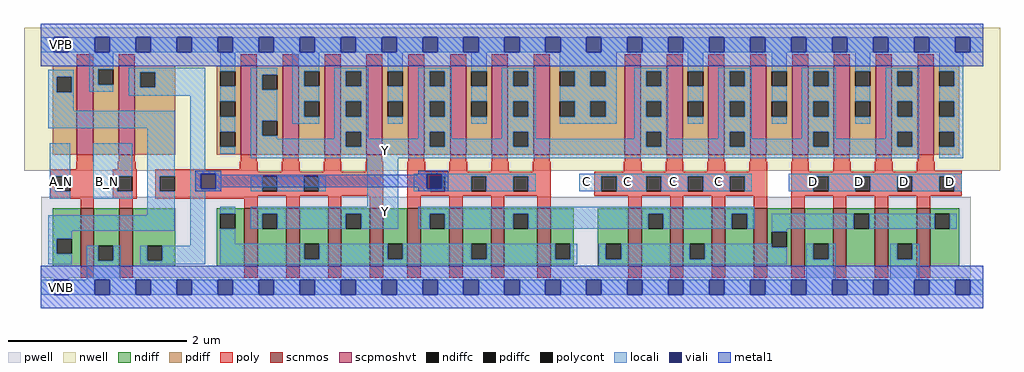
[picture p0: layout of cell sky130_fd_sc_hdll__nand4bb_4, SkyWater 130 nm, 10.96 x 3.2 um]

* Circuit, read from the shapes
.subckt sky130_fd_sc_hdll__nand4bb_4 A_N B_N C D VGND VNB VPB VPWR Y
XM1 VGND A_N n1 VNB sky130_fd_pr__nfet_01v8 w=0.65 l=0.15
XM2 n2 B_N VGND VNB sky130_fd_pr__nfet_01v8 w=0.65 l=0.15
XM3 Y n1 n3 VNB sky130_fd_pr__nfet_01v8 w=0.65 l=0.15 m=4
XM4 n4 n2 n3 VNB sky130_fd_pr__nfet_01v8 w=0.65 l=0.15 m=4
XM5 n4 C n5 VNB sky130_fd_pr__nfet_01v8 w=0.65 l=0.15 m=4
XM6 VGND D n5 VNB sky130_fd_pr__nfet_01v8 w=0.65 l=0.15 m=4
XM7 VPWR A_N n1 VPB sky130_fd_pr__pfet_01v8_hvt w=1 l=0.18
XM8 n2 B_N VPWR VPB sky130_fd_pr__pfet_01v8_hvt w=1 l=0.18
XM9 Y n1 VPWR VPB sky130_fd_pr__pfet_01v8_hvt w=1 l=0.18 m=4
XM10 Y n2 VPWR VPB sky130_fd_pr__pfet_01v8_hvt w=1 l=0.18 m=4
XM11 Y C VPWR VPB sky130_fd_pr__pfet_01v8_hvt w=1 l=0.18 m=4
XM12 Y D VPWR VPB sky130_fd_pr__pfet_01v8_hvt w=1 l=0.18 m=4
.ends

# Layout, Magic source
magic
tech sky130A
magscale 1 2
<< nwell >>
rect -38 261 2154 582
<< pwell >>
rect 1 21 2088 203
rect 29 -17 63 21
<< scnmos >>
rect 89 47 119 177
rect 176 47 206 177
rect 457 47 487 177
rect 551 47 581 177
rect 645 47 675 177
rect 739 47 769 177
rect 823 47 853 177
rect 917 47 947 177
rect 1011 47 1041 177
rect 1115 47 1145 177
rect 1319 47 1349 177
rect 1413 47 1443 177
rect 1507 47 1537 177
rect 1601 47 1631 177
rect 1685 47 1715 177
rect 1779 47 1809 177
rect 1873 47 1903 177
rect 1967 47 1997 177
<< scpmoshvt >>
rect 81 297 117 497
rect 175 297 211 497
rect 449 297 485 497
rect 543 297 579 497
rect 637 297 673 497
rect 731 297 767 497
rect 825 297 861 497
rect 919 297 955 497
rect 1013 297 1049 497
rect 1107 297 1143 497
rect 1311 297 1347 497
rect 1405 297 1441 497
rect 1499 297 1535 497
rect 1593 297 1629 497
rect 1687 297 1723 497
rect 1781 297 1817 497
rect 1875 297 1911 497
rect 1969 297 2005 497
<< ndiff >>
rect 27 109 89 177
rect 27 75 35 109
rect 69 75 89 109
rect 27 47 89 75
rect 119 93 176 177
rect 119 59 129 93
rect 163 59 176 93
rect 119 47 176 59
rect 206 93 302 177
rect 206 59 239 93
rect 273 59 302 93
rect 206 47 302 59
rect 395 165 457 177
rect 395 131 403 165
rect 437 131 457 165
rect 395 47 457 131
rect 487 165 551 177
rect 487 131 497 165
rect 531 131 551 165
rect 487 47 551 131
rect 581 97 645 177
rect 581 63 591 97
rect 625 63 645 97
rect 581 47 645 63
rect 675 165 739 177
rect 675 131 685 165
rect 719 131 739 165
rect 675 47 739 131
rect 769 97 823 177
rect 769 63 779 97
rect 813 63 823 97
rect 769 47 823 63
rect 853 165 917 177
rect 853 131 873 165
rect 907 131 917 165
rect 853 47 917 131
rect 947 97 1011 177
rect 947 63 967 97
rect 1001 63 1011 97
rect 947 47 1011 63
rect 1041 165 1115 177
rect 1041 131 1061 165
rect 1095 131 1115 165
rect 1041 47 1115 131
rect 1145 97 1197 177
rect 1145 63 1155 97
rect 1189 63 1197 97
rect 1145 47 1197 63
rect 1251 97 1319 177
rect 1251 63 1269 97
rect 1303 63 1319 97
rect 1251 47 1319 63
rect 1349 165 1413 177
rect 1349 131 1364 165
rect 1398 131 1413 165
rect 1349 47 1413 131
rect 1443 97 1507 177
rect 1443 63 1457 97
rect 1491 63 1507 97
rect 1443 47 1507 63
rect 1537 165 1601 177
rect 1537 131 1552 165
rect 1586 131 1601 165
rect 1537 47 1601 131
rect 1631 124 1685 177
rect 1631 90 1641 124
rect 1675 90 1685 124
rect 1631 47 1685 90
rect 1715 97 1779 177
rect 1715 63 1735 97
rect 1769 63 1779 97
rect 1715 47 1779 63
rect 1809 165 1873 177
rect 1809 131 1826 165
rect 1860 131 1873 165
rect 1809 47 1873 131
rect 1903 97 1967 177
rect 1903 63 1923 97
rect 1957 63 1967 97
rect 1903 47 1967 63
rect 1997 165 2062 177
rect 1997 131 2007 165
rect 2041 131 2062 165
rect 1997 47 2062 131
<< pdiff >>
rect 27 472 81 497
rect 27 438 35 472
rect 69 438 81 472
rect 27 297 81 438
rect 117 489 175 497
rect 117 455 129 489
rect 163 455 175 489
rect 117 297 175 455
rect 211 483 302 497
rect 211 449 223 483
rect 257 449 302 483
rect 211 297 302 449
rect 395 485 449 497
rect 395 451 403 485
rect 437 451 449 485
rect 395 417 449 451
rect 395 383 403 417
rect 437 383 449 417
rect 395 349 449 383
rect 395 315 403 349
rect 437 315 449 349
rect 395 297 449 315
rect 485 477 543 497
rect 485 443 497 477
rect 531 443 543 477
rect 485 374 543 443
rect 485 340 497 374
rect 531 340 543 374
rect 485 297 543 340
rect 579 485 637 497
rect 579 451 591 485
rect 625 451 637 485
rect 579 417 637 451
rect 579 383 591 417
rect 625 383 637 417
rect 579 297 637 383
rect 673 485 731 497
rect 673 451 685 485
rect 719 451 731 485
rect 673 417 731 451
rect 673 383 685 417
rect 719 383 731 417
rect 673 349 731 383
rect 673 315 685 349
rect 719 315 731 349
rect 673 297 731 315
rect 767 485 825 497
rect 767 451 779 485
rect 813 451 825 485
rect 767 417 825 451
rect 767 383 779 417
rect 813 383 825 417
rect 767 297 825 383
rect 861 485 919 497
rect 861 451 873 485
rect 907 451 919 485
rect 861 417 919 451
rect 861 383 873 417
rect 907 383 919 417
rect 861 349 919 383
rect 861 315 873 349
rect 907 315 919 349
rect 861 297 919 315
rect 955 485 1013 497
rect 955 451 967 485
rect 1001 451 1013 485
rect 955 417 1013 451
rect 955 383 967 417
rect 1001 383 1013 417
rect 955 297 1013 383
rect 1049 485 1107 497
rect 1049 451 1061 485
rect 1095 451 1107 485
rect 1049 417 1107 451
rect 1049 383 1061 417
rect 1095 383 1107 417
rect 1049 349 1107 383
rect 1049 315 1061 349
rect 1095 315 1107 349
rect 1049 297 1107 315
rect 1143 485 1311 497
rect 1143 451 1165 485
rect 1199 451 1234 485
rect 1268 451 1311 485
rect 1143 417 1311 451
rect 1143 383 1165 417
rect 1199 383 1234 417
rect 1268 383 1311 417
rect 1143 297 1311 383
rect 1347 485 1405 497
rect 1347 451 1359 485
rect 1393 451 1405 485
rect 1347 417 1405 451
rect 1347 383 1359 417
rect 1393 383 1405 417
rect 1347 349 1405 383
rect 1347 315 1359 349
rect 1393 315 1405 349
rect 1347 297 1405 315
rect 1441 485 1499 497
rect 1441 451 1453 485
rect 1487 451 1499 485
rect 1441 417 1499 451
rect 1441 383 1453 417
rect 1487 383 1499 417
rect 1441 297 1499 383
rect 1535 485 1593 497
rect 1535 451 1547 485
rect 1581 451 1593 485
rect 1535 417 1593 451
rect 1535 383 1547 417
rect 1581 383 1593 417
rect 1535 349 1593 383
rect 1535 315 1547 349
rect 1581 315 1593 349
rect 1535 297 1593 315
rect 1629 485 1687 497
rect 1629 451 1641 485
rect 1675 451 1687 485
rect 1629 417 1687 451
rect 1629 383 1641 417
rect 1675 383 1687 417
rect 1629 297 1687 383
rect 1723 485 1781 497
rect 1723 451 1735 485
rect 1769 451 1781 485
rect 1723 417 1781 451
rect 1723 383 1735 417
rect 1769 383 1781 417
rect 1723 349 1781 383
rect 1723 315 1735 349
rect 1769 315 1781 349
rect 1723 297 1781 315
rect 1817 485 1875 497
rect 1817 451 1829 485
rect 1863 451 1875 485
rect 1817 417 1875 451
rect 1817 383 1829 417
rect 1863 383 1875 417
rect 1817 297 1875 383
rect 1911 485 1969 497
rect 1911 451 1923 485
rect 1957 451 1969 485
rect 1911 417 1969 451
rect 1911 383 1923 417
rect 1957 383 1969 417
rect 1911 349 1969 383
rect 1911 315 1923 349
rect 1957 315 1969 349
rect 1911 297 1969 315
rect 2005 485 2062 497
rect 2005 451 2017 485
rect 2051 451 2062 485
rect 2005 417 2062 451
rect 2005 383 2017 417
rect 2051 383 2062 417
rect 2005 349 2062 383
rect 2005 315 2017 349
rect 2051 315 2062 349
rect 2005 297 2062 315
<< ndiffc >>
rect 35 75 69 109
rect 129 59 163 93
rect 239 59 273 93
rect 403 131 437 165
rect 497 131 531 165
rect 591 63 625 97
rect 685 131 719 165
rect 779 63 813 97
rect 873 131 907 165
rect 967 63 1001 97
rect 1061 131 1095 165
rect 1155 63 1189 97
rect 1269 63 1303 97
rect 1364 131 1398 165
rect 1457 63 1491 97
rect 1552 131 1586 165
rect 1641 90 1675 124
rect 1735 63 1769 97
rect 1826 131 1860 165
rect 1923 63 1957 97
rect 2007 131 2041 165
<< pdiffc >>
rect 35 438 69 472
rect 129 455 163 489
rect 223 449 257 483
rect 403 451 437 485
rect 403 383 437 417
rect 403 315 437 349
rect 497 443 531 477
rect 497 340 531 374
rect 591 451 625 485
rect 591 383 625 417
rect 685 451 719 485
rect 685 383 719 417
rect 685 315 719 349
rect 779 451 813 485
rect 779 383 813 417
rect 873 451 907 485
rect 873 383 907 417
rect 873 315 907 349
rect 967 451 1001 485
rect 967 383 1001 417
rect 1061 451 1095 485
rect 1061 383 1095 417
rect 1061 315 1095 349
rect 1165 451 1199 485
rect 1234 451 1268 485
rect 1165 383 1199 417
rect 1234 383 1268 417
rect 1359 451 1393 485
rect 1359 383 1393 417
rect 1359 315 1393 349
rect 1453 451 1487 485
rect 1453 383 1487 417
rect 1547 451 1581 485
rect 1547 383 1581 417
rect 1547 315 1581 349
rect 1641 451 1675 485
rect 1641 383 1675 417
rect 1735 451 1769 485
rect 1735 383 1769 417
rect 1735 315 1769 349
rect 1829 451 1863 485
rect 1829 383 1863 417
rect 1923 451 1957 485
rect 1923 383 1957 417
rect 1923 315 1957 349
rect 2017 451 2051 485
rect 2017 383 2051 417
rect 2017 315 2051 349
<< poly >>
rect 81 497 117 523
rect 175 497 211 523
rect 449 497 485 523
rect 543 497 579 523
rect 637 497 673 523
rect 731 497 767 523
rect 825 497 861 523
rect 919 497 955 523
rect 1013 497 1049 523
rect 1107 497 1143 523
rect 1311 497 1347 523
rect 1405 497 1441 523
rect 1499 497 1535 523
rect 1593 497 1629 523
rect 1687 497 1723 523
rect 1781 497 1817 523
rect 1875 497 1911 523
rect 1969 497 2005 523
rect 81 282 117 297
rect 175 282 211 297
rect 449 282 485 297
rect 543 282 579 297
rect 637 282 673 297
rect 731 282 767 297
rect 825 282 861 297
rect 919 282 955 297
rect 1013 282 1049 297
rect 1107 282 1143 297
rect 1311 282 1347 297
rect 1405 282 1441 297
rect 1499 282 1535 297
rect 1593 282 1629 297
rect 1687 282 1723 297
rect 1781 282 1817 297
rect 1875 282 1911 297
rect 1969 282 2005 297
rect 79 265 119 282
rect 173 265 213 282
rect 447 265 487 282
rect 21 249 119 265
rect 21 215 32 249
rect 66 215 119 249
rect 21 199 119 215
rect 161 249 215 265
rect 161 215 171 249
rect 205 215 215 249
rect 161 199 215 215
rect 257 259 487 265
rect 541 259 581 282
rect 635 259 675 282
rect 729 259 769 282
rect 257 249 769 259
rect 257 215 267 249
rect 301 215 497 249
rect 531 215 590 249
rect 624 215 769 249
rect 257 205 769 215
rect 257 199 487 205
rect 89 177 119 199
rect 176 177 206 199
rect 457 177 487 199
rect 551 177 581 205
rect 645 177 675 205
rect 739 177 769 205
rect 823 259 863 282
rect 917 259 957 282
rect 1011 259 1051 282
rect 1105 259 1145 282
rect 1309 259 1349 282
rect 1403 259 1443 282
rect 1497 259 1537 282
rect 1591 259 1631 282
rect 823 249 1145 259
rect 823 215 874 249
rect 908 215 966 249
rect 1000 215 1061 249
rect 1095 215 1145 249
rect 823 205 1145 215
rect 1243 249 1631 259
rect 1243 215 1259 249
rect 1293 215 1359 249
rect 1393 215 1453 249
rect 1487 215 1547 249
rect 1581 215 1631 249
rect 1243 205 1631 215
rect 823 177 853 205
rect 917 177 947 205
rect 1011 177 1041 205
rect 1115 177 1145 205
rect 1319 177 1349 205
rect 1413 177 1443 205
rect 1507 177 1537 205
rect 1601 177 1631 205
rect 1685 259 1725 282
rect 1779 259 1819 282
rect 1873 259 1913 282
rect 1967 261 2007 282
rect 1967 259 2068 261
rect 1685 249 2068 259
rect 1685 215 1735 249
rect 1769 215 1829 249
rect 1863 215 1923 249
rect 1957 215 2017 249
rect 2051 215 2068 249
rect 1685 205 2068 215
rect 1685 177 1715 205
rect 1779 177 1809 205
rect 1873 177 1903 205
rect 1967 177 1997 205
rect 89 21 119 47
rect 176 21 206 47
rect 457 21 487 47
rect 551 21 581 47
rect 645 21 675 47
rect 739 21 769 47
rect 823 21 853 47
rect 917 21 947 47
rect 1011 21 1041 47
rect 1115 21 1145 47
rect 1319 21 1349 47
rect 1413 21 1443 47
rect 1507 21 1537 47
rect 1601 21 1631 47
rect 1685 21 1715 47
rect 1779 21 1809 47
rect 1873 21 1903 47
rect 1967 21 1997 47
<< polycont >>
rect 32 215 66 249
rect 171 215 205 249
rect 267 215 301 249
rect 497 215 531 249
rect 590 215 624 249
rect 874 215 908 249
rect 966 215 1000 249
rect 1061 215 1095 249
rect 1259 215 1293 249
rect 1359 215 1393 249
rect 1453 215 1487 249
rect 1547 215 1581 249
rect 1735 215 1769 249
rect 1829 215 1863 249
rect 1923 215 1957 249
rect 2017 215 2051 249
<< locali >>
rect 0 527 29 561
rect 63 527 121 561
rect 155 527 213 561
rect 247 527 305 561
rect 339 527 397 561
rect 431 527 489 561
rect 523 527 581 561
rect 615 527 673 561
rect 707 527 765 561
rect 799 527 857 561
rect 891 527 949 561
rect 983 527 1041 561
rect 1075 527 1133 561
rect 1167 527 1225 561
rect 1259 527 1317 561
rect 1351 527 1409 561
rect 1443 527 1501 561
rect 1535 527 1593 561
rect 1627 527 1685 561
rect 1719 527 1777 561
rect 1811 527 1869 561
rect 1903 527 1961 561
rect 1995 527 2053 561
rect 2087 527 2116 561
rect 108 489 163 527
rect 17 472 74 488
rect 17 438 35 472
rect 69 438 74 472
rect 108 455 129 489
rect 108 439 163 455
rect 197 483 369 493
rect 197 449 223 483
rect 257 449 369 483
rect 17 396 74 438
rect 197 430 369 449
rect 17 357 301 396
rect 20 249 66 323
rect 20 215 32 249
rect 20 199 66 215
rect 117 249 205 323
rect 117 215 171 249
rect 117 199 205 215
rect 239 249 301 357
rect 239 215 267 249
rect 239 161 301 215
rect 17 127 301 161
rect 335 261 369 430
rect 403 485 437 527
rect 403 417 437 451
rect 403 349 437 383
rect 403 299 437 315
rect 471 477 531 493
rect 471 443 497 477
rect 471 374 531 443
rect 471 340 497 374
rect 565 485 625 527
rect 565 451 591 485
rect 565 417 625 451
rect 565 383 591 417
rect 565 367 625 383
rect 659 485 735 493
rect 659 451 685 485
rect 719 451 735 485
rect 659 417 735 451
rect 659 383 685 417
rect 719 383 735 417
rect 471 333 531 340
rect 659 349 735 383
rect 779 485 813 527
rect 779 417 813 451
rect 779 367 813 383
rect 847 485 923 493
rect 847 451 873 485
rect 907 451 923 485
rect 847 417 923 451
rect 847 383 873 417
rect 907 383 923 417
rect 659 333 685 349
rect 471 315 685 333
rect 719 333 735 349
rect 847 349 923 383
rect 967 485 1001 527
rect 967 417 1001 451
rect 967 367 1001 383
rect 1035 485 1111 493
rect 1035 451 1061 485
rect 1095 451 1111 485
rect 1035 417 1111 451
rect 1035 383 1061 417
rect 1095 383 1111 417
rect 847 333 873 349
rect 719 315 873 333
rect 907 333 923 349
rect 1035 349 1111 383
rect 1165 485 1293 527
rect 1199 451 1234 485
rect 1268 451 1293 485
rect 1165 417 1293 451
rect 1199 383 1234 417
rect 1268 383 1293 417
rect 1165 367 1293 383
rect 1333 485 1409 493
rect 1333 451 1359 485
rect 1393 451 1409 485
rect 1333 417 1409 451
rect 1333 383 1359 417
rect 1393 383 1409 417
rect 1035 333 1061 349
rect 907 315 1061 333
rect 1095 333 1111 349
rect 1333 349 1409 383
rect 1453 485 1487 527
rect 1453 417 1487 451
rect 1453 367 1487 383
rect 1521 485 1597 493
rect 1521 451 1547 485
rect 1581 451 1597 485
rect 1521 417 1597 451
rect 1521 383 1547 417
rect 1581 383 1597 417
rect 1333 333 1359 349
rect 1095 315 1359 333
rect 1393 333 1409 349
rect 1521 349 1597 383
rect 1641 485 1675 527
rect 1641 417 1675 451
rect 1641 367 1675 383
rect 1709 485 1785 493
rect 1709 451 1735 485
rect 1769 451 1785 485
rect 1709 417 1785 451
rect 1709 383 1735 417
rect 1769 383 1785 417
rect 1521 333 1547 349
rect 1393 315 1547 333
rect 1581 333 1597 349
rect 1709 349 1785 383
rect 1829 485 1863 527
rect 1829 417 1863 451
rect 1829 367 1863 383
rect 1897 485 1973 493
rect 1897 451 1923 485
rect 1957 451 1973 485
rect 1897 417 1973 451
rect 1897 383 1923 417
rect 1957 383 1973 417
rect 1709 333 1735 349
rect 1581 315 1735 333
rect 1769 333 1785 349
rect 1897 349 1973 383
rect 1897 333 1923 349
rect 1769 315 1923 333
rect 1957 315 1973 349
rect 471 289 1973 315
rect 2017 485 2072 527
rect 2051 451 2072 485
rect 2017 417 2072 451
rect 2051 383 2072 417
rect 2017 349 2072 383
rect 2051 315 2072 349
rect 2017 289 2072 315
rect 335 255 405 261
rect 335 221 359 255
rect 393 221 405 255
rect 335 215 405 221
rect 471 215 497 249
rect 531 215 590 249
rect 624 215 640 249
rect 17 109 69 127
rect 17 75 35 109
rect 335 93 369 215
rect 733 181 803 289
rect 837 221 866 255
rect 900 249 1111 255
rect 837 215 874 221
rect 908 215 966 249
rect 1000 215 1061 249
rect 1095 215 1111 249
rect 1209 249 1597 255
rect 1209 215 1259 249
rect 1293 215 1359 249
rect 1393 215 1453 249
rect 1487 215 1547 249
rect 1581 215 1597 249
rect 1679 249 2068 255
rect 1679 215 1735 249
rect 1769 215 1829 249
rect 1863 215 1923 249
rect 1957 215 2017 249
rect 2051 215 2068 249
rect 17 51 69 75
rect 103 59 129 93
rect 163 59 179 93
rect 103 17 179 59
rect 223 59 239 93
rect 273 59 369 93
rect 223 51 369 59
rect 403 165 437 181
rect 471 165 803 181
rect 471 131 497 165
rect 531 131 685 165
rect 719 131 803 165
rect 847 165 1602 181
rect 847 131 873 165
rect 907 131 1061 165
rect 1095 131 1364 165
rect 1398 131 1552 165
rect 1586 131 1602 165
rect 1641 131 1826 165
rect 1860 131 2007 165
rect 2041 131 2057 165
rect 403 97 437 131
rect 1641 124 1675 131
rect 403 63 591 97
rect 625 63 779 97
rect 813 63 967 97
rect 1001 63 1155 97
rect 1189 63 1205 97
rect 403 51 1205 63
rect 1253 63 1269 97
rect 1303 63 1457 97
rect 1491 90 1641 97
rect 1491 63 1675 90
rect 1253 51 1675 63
rect 1719 63 1735 97
rect 1769 63 1785 97
rect 1719 17 1785 63
rect 1907 63 1923 97
rect 1957 63 1973 97
rect 1907 17 1973 63
rect 0 -17 29 17
rect 63 -17 121 17
rect 155 -17 213 17
rect 247 -17 305 17
rect 339 -17 397 17
rect 431 -17 489 17
rect 523 -17 581 17
rect 615 -17 673 17
rect 707 -17 765 17
rect 799 -17 857 17
rect 891 -17 949 17
rect 983 -17 1041 17
rect 1075 -17 1133 17
rect 1167 -17 1225 17
rect 1259 -17 1317 17
rect 1351 -17 1409 17
rect 1443 -17 1501 17
rect 1535 -17 1593 17
rect 1627 -17 1685 17
rect 1719 -17 1777 17
rect 1811 -17 1869 17
rect 1903 -17 1961 17
rect 1995 -17 2053 17
rect 2087 -17 2116 17
<< viali >>
rect 29 527 63 561
rect 121 527 155 561
rect 213 527 247 561
rect 305 527 339 561
rect 397 527 431 561
rect 489 527 523 561
rect 581 527 615 561
rect 673 527 707 561
rect 765 527 799 561
rect 857 527 891 561
rect 949 527 983 561
rect 1041 527 1075 561
rect 1133 527 1167 561
rect 1225 527 1259 561
rect 1317 527 1351 561
rect 1409 527 1443 561
rect 1501 527 1535 561
rect 1593 527 1627 561
rect 1685 527 1719 561
rect 1777 527 1811 561
rect 1869 527 1903 561
rect 1961 527 1995 561
rect 2053 527 2087 561
rect 359 221 393 255
rect 866 249 900 255
rect 866 221 874 249
rect 874 221 900 249
rect 29 -17 63 17
rect 121 -17 155 17
rect 213 -17 247 17
rect 305 -17 339 17
rect 397 -17 431 17
rect 489 -17 523 17
rect 581 -17 615 17
rect 673 -17 707 17
rect 765 -17 799 17
rect 857 -17 891 17
rect 949 -17 983 17
rect 1041 -17 1075 17
rect 1133 -17 1167 17
rect 1225 -17 1259 17
rect 1317 -17 1351 17
rect 1409 -17 1443 17
rect 1501 -17 1535 17
rect 1593 -17 1627 17
rect 1685 -17 1719 17
rect 1777 -17 1811 17
rect 1869 -17 1903 17
rect 1961 -17 1995 17
rect 2053 -17 2087 17
<< metal1 >>
rect 0 561 2116 592
rect 0 527 29 561
rect 63 527 121 561
rect 155 527 213 561
rect 247 527 305 561
rect 339 527 397 561
rect 431 527 489 561
rect 523 527 581 561
rect 615 527 673 561
rect 707 527 765 561
rect 799 527 857 561
rect 891 527 949 561
rect 983 527 1041 561
rect 1075 527 1133 561
rect 1167 527 1225 561
rect 1259 527 1317 561
rect 1351 527 1409 561
rect 1443 527 1501 561
rect 1535 527 1593 561
rect 1627 527 1685 561
rect 1719 527 1777 561
rect 1811 527 1869 561
rect 1903 527 1961 561
rect 1995 527 2053 561
rect 2087 527 2116 561
rect 0 496 2116 527
rect 347 255 405 261
rect 347 221 359 255
rect 393 252 405 255
rect 847 255 915 261
rect 847 252 866 255
rect 393 224 866 252
rect 393 221 405 224
rect 347 215 405 221
rect 847 221 866 224
rect 900 221 915 255
rect 847 215 915 221
rect 0 17 2116 48
rect 0 -17 29 17
rect 63 -17 121 17
rect 155 -17 213 17
rect 247 -17 305 17
rect 339 -17 397 17
rect 431 -17 489 17
rect 523 -17 581 17
rect 615 -17 673 17
rect 707 -17 765 17
rect 799 -17 857 17
rect 891 -17 949 17
rect 983 -17 1041 17
rect 1075 -17 1133 17
rect 1167 -17 1225 17
rect 1259 -17 1317 17
rect 1351 -17 1409 17
rect 1443 -17 1501 17
rect 1535 -17 1593 17
rect 1627 -17 1685 17
rect 1719 -17 1777 17
rect 1811 -17 1869 17
rect 1903 -17 1961 17
rect 1995 -17 2053 17
rect 2087 -17 2116 17
rect 0 -48 2116 -17
<< labels >>
flabel locali s 132 221 166 255 0 FreeSans 200 0 0 0 B_N
port 2 nsew signal input
flabel locali s 30 221 64 255 0 FreeSans 200 0 0 0 A_N
port 1 nsew signal input
flabel locali s 1209 221 1243 255 0 FreeSans 200 0 0 0 C
port 3 nsew signal input
flabel locali s 757 153 791 187 0 FreeSans 200 0 0 0 Y
port 9 nsew signal output
flabel locali s 757 289 791 323 0 FreeSans 200 0 0 0 Y
port 9 nsew signal output
flabel locali s 1301 221 1335 255 0 FreeSans 200 0 0 0 C
port 3 nsew signal input
flabel locali s 1403 221 1437 255 0 FreeSans 200 0 0 0 C
port 3 nsew signal input
flabel locali s 1505 221 1539 255 0 FreeSans 200 0 0 0 C
port 3 nsew signal input
flabel locali s 1719 221 1753 255 0 FreeSans 200 0 0 0 D
port 4 nsew signal input
flabel locali s 1923 221 1957 255 0 FreeSans 200 0 0 0 D
port 4 nsew signal input
flabel locali s 2025 221 2059 255 0 FreeSans 200 0 0 0 D
port 4 nsew signal input
flabel locali s 1821 221 1855 255 0 FreeSans 200 0 0 0 D
port 4 nsew signal input
flabel pwell s 29 -17 63 17 0 FreeSans 200 0 0 0 VNB
port 6 nsew ground bidirectional
flabel nwell s 29 527 63 561 0 FreeSans 200 0 0 0 VPB
port 7 nsew power bidirectional
flabel metal1 s 29 -17 63 17 0 FreeSans 200 0 0 0 VGND
port 5 nsew ground bidirectional
flabel metal1 s 29 527 63 561 0 FreeSans 200 0 0 0 VPWR
port 8 nsew power bidirectional
rlabel comment s 0 0 0 0 4 nand4bb_4
<< properties >>
string LEFsite unithd
string LEFclass CORE
string FIXED_BBOX 0 0 2116 544
string GDS_FILE $PDKPATH/libs.ref/sky130_fd_sc_hdll/gds/sky130_fd_sc_hdll.gds
string LEFsymmetry X Y R90
string GDS_END 2310690
string GDS_START 2295174
string LEFproperties maskLayoutSubType "abstract" prCellType "standard" originalViewName "layout"
<< end >>
